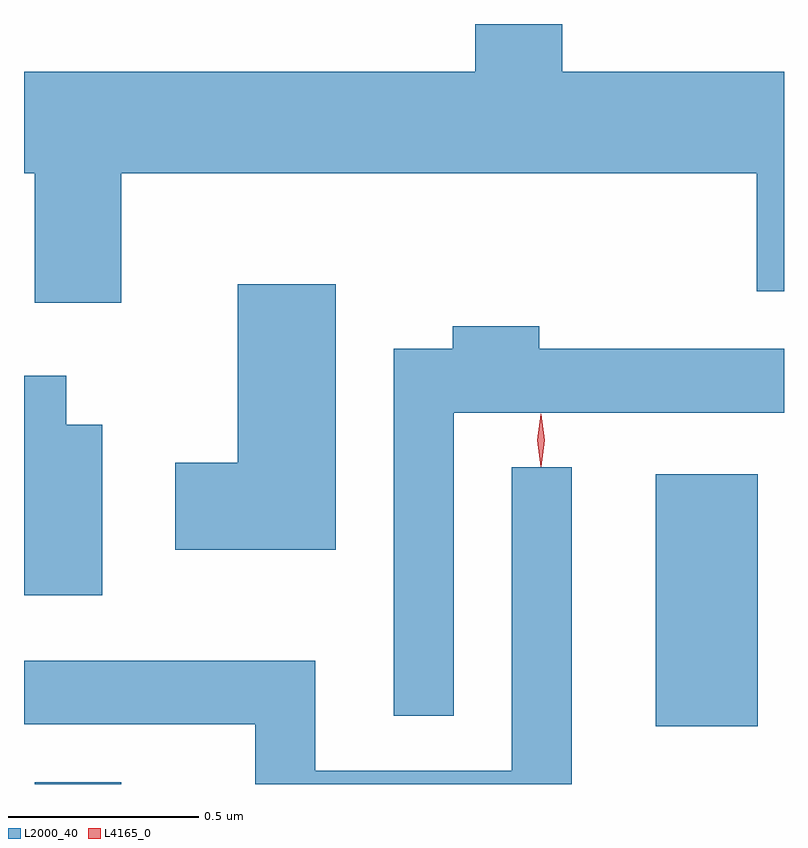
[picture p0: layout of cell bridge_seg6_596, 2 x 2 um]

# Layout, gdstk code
import gdstk
lib = gdstk.Library(unit=1e-6, precision=1e-09)
def R(c, l, rs):  # rectangles x0, y0, x1, y1
    for r in rs: c.add(gdstk.rectangle(r[:2], r[2:], *l))
def P(c, l, *ps):  # polygons
    for p in ps: c.add(gdstk.Polygon(p, *l))
L2000_40 = (2000, 40)
L4165_0 = (4165, 0)

bridge_seg6_596 = lib.new_cell('bridge_seg6_596')
R(bridge_seg6_596, L2000_40, [(446.351,1635.009,446.579,1635.014), (447.986,1635.161,448.254,1635.824)])
P(bridge_seg6_596, L2000_40, [(446.579,1636.616),(448.251,1636.616),(448.251,1636.306),(448.323,1636.306),(448.323,1636.884),(447.739,1636.884),(447.739,1637.009),(447.511,1637.009),(447.511,1636.884),(446.323,1636.884),(446.323,1636.616),(446.351,1636.616),(446.351,1636.276),(446.579,1636.276)],
  [(447.144,1636.324),(446.886,1636.324),(446.886,1635.854),(446.721,1635.854),(446.721,1635.626),(447.144,1635.626)],
  [(447.454,1635.986),(448.323,1635.986),(448.323,1636.154),(447.679,1636.154),(447.679,1636.214),(447.451,1636.214),(447.451,1636.154),(447.296,1636.154),(447.296,1635.188),(447.454,1635.188)],
  [(446.529,1635.954),(446.434,1635.954),(446.434,1636.084),(446.323,1636.084),(446.323,1635.506),(446.529,1635.506)],
  [(447.764,1635.843),(447.606,1635.843),(447.606,1635.044),(447.089,1635.044),(447.089,1635.334),(446.323,1635.334),(446.323,1635.166),(446.931,1635.166),(446.931,1635.009),(447.764,1635.009)])
P(bridge_seg6_596, L4165_0, [(447.683,1635.844),(447.673,1635.913),(447.683,1635.982),(447.683,1635.983),(447.684,1635.982),(447.694,1635.913),(447.684,1635.844),(447.684,1635.844)])

lib.write_gds('bridge_seg6_596.gds')
